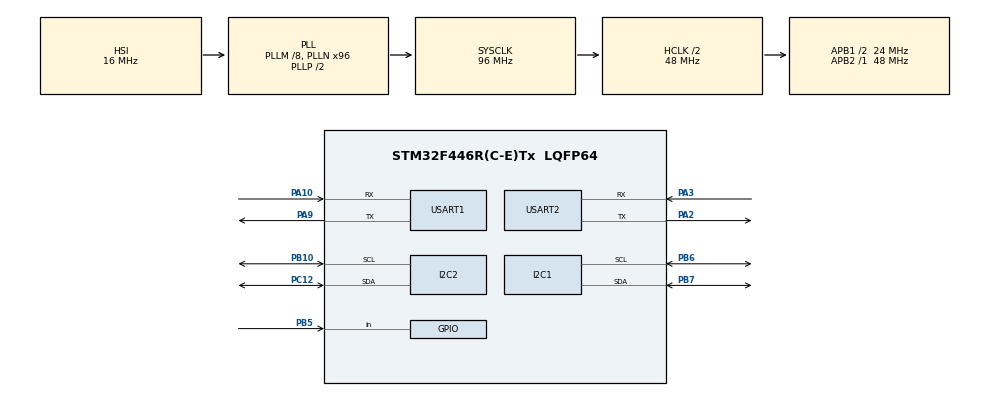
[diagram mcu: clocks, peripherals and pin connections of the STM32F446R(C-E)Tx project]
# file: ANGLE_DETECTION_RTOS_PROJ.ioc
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I2C2.I2C_Mode=I2C_Fast
Mcu.Family=STM32F4
Mcu.Name=STM32F446R(C-E)Tx
Mcu.Package=LQFP64
NVIC.PriorityGroup=NVIC_PRIORITYGROUP_4
NVIC.TIM1_UP_TIM10_IRQn=true\:15\:0\:false\:false\:true\:false\:true\:true
NVIC.TimeBase=TIM1_UP_TIM10_IRQn
NVIC.TimeBaseIP=TIM1
PA10.Mode=Asynchronous
PA10.Signal=USART1_RX
PA2.Mode=Asynchronous
PA2.Signal=USART2_TX
PA3.Mode=Asynchronous
PA3.Signal=USART2_RX
PA9.Mode=Asynchronous
PA9.Signal=USART1_TX
PB10.Mode=I2C
PB10.Signal=I2C2_SCL
PB5.Signal=GPIO_Input
PB6.Mode=I2C
PB6.Signal=I2C1_SCL
PB7.Mode=I2C
PB7.Signal=I2C1_SDA
PC12.Mode=I2C
PC12.Signal=I2C2_SDA
PC14-OSC32_IN.Mode=LSE-External-Oscillator
PC14-OSC32_IN.Signal=RCC_OSC32_IN
PC15-OSC32_OUT.Mode=LSE-External-Oscillator
PC15-OSC32_OUT.Signal=RCC_OSC32_OUT
PH0-OSC_IN.Mode=HSE-External-Oscillator
PH0-OSC_IN.Signal=RCC_OSC_IN
PH1-OSC_OUT.Mode=HSE-External-Oscillator
PH1-OSC_OUT.Signal=RCC_OSC_OUT
ProjectManager.HeapSize=0x200
ProjectManager.StackSize=0x400
ProjectManager.TargetToolchain=STM32CubeIDE
RCC.AHBCLKDivider=RCC_SYSCLK_DIV2
RCC.AHBFreq_Value=48000000
RCC.APB1CLKDivider=RCC_HCLK_DIV2
RCC.APB1Freq_Value=24000000
RCC.APB1TimFreq_Value=48000000
RCC.APB2Freq_Value=48000000
RCC.APB2TimFreq_Value=48000000
RCC.CortexFreq_Value=48000000
RCC.HCLKFreq_Value=48000000
RCC.HSE_VALUE=8000000
RCC.PLLM=8
RCC.PLLN=96
RCC.SYSCLKFreq_VALUE=96000000
RCC.SYSCLKSource=RCC_SYSCLKSOURCE_PLLCLK
RCC.USBFreq_Value=96000000
RCC.VCOOutputFreq_Value=192000000
USART1.VirtualMode=VM_ASYNC
USART2.VirtualMode=VM_ASYNC
VP_SYS_VS_tim1.Mode=TIM1
board=custom

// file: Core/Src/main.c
/* USER CODE BEGIN Header */
/**
  ******************************************************************************
  * @file           : main.c
  * @brief          : Main program body
  ******************************************************************************
  * @attention
  *
  * Copyright (c) 2025 STMicroelectronics.
  * All rights reserved.
  *
  * This software is licensed under terms that can be found in the LICENSE file
  * in the root directory of this software component.
  * If no LICENSE file comes with this software, it is provided AS-IS.
  *
  ******************************************************************************
  */
/* USER CODE END Header */
#include "main.h"

/* USER CODE BEGIN Includes */
#include <math.h>
#include <stdio.h>
#include <string.h>

#include "freeRTOS.h"
#include "task.h"
#include "semphr.h"

#include "I2Cdev.h"
#include "HMC5883L.h"

#include "MPU6050.h"
#include "CalculateAngle.h"

/* USER CODE END Includes */

I2C_HandleTypeDef hi2c1;
I2C_HandleTypeDef hi2c2;

UART_HandleTypeDef huart1;
UART_HandleTypeDef huart2;

/* USER CODE BEGIN PV */
TaskHandle_t mpu6050_handler;
TaskHandle_t hmc5883l_handler;
BaseType_t status;
xSemaphoreHandle xUartMutex;

int16_t mx, my, mz;
float pitch, roll;
char uartBuf[50];
float mx_comp, my_comp;
float yaw;

/* USER CODE END PV */

void SystemClock_Config(void);
static void MX_GPIO_Init(void);
static void MX_I2C1_Init(void);
static void MX_I2C2_Init(void);
static void MX_USART2_UART_Init(void);
static void MX_USART1_UART_Init(void);
/* USER CODE BEGIN PFP */
static void hmc5883l_task(void* parameters);
static void mpu6050_task(void* parameters);
/* USER CODE END PFP */

int main(void)
{

  /* MCU Configuration--------------------------------------------------------*/

  /* Reset of all peripherals, Initializes the Flash interface and the Systick. */
  HAL_Init();

  /* Configure the system clock */
  SystemClock_Config();

  /* Initialize all configured peripherals */
  MX_GPIO_Init();
  MX_I2C1_Init();
  MX_I2C2_Init();
  MX_USART2_UART_Init();
  MX_USART1_UART_Init();
  /* USER CODE BEGIN 2 */
  I2Cdev_init(&hi2c2);
  HMC5883L_initialize();
  MPU6050_Initialization();

  if (HMC5883L_testConnection())
  {
	  char buffer[100];
	  sprintf(buffer, "HMC5883L Connected\r\n");
	  HAL_UART_Transmit(&huart2, (uint8_t*)buffer, strlen(buffer), HAL_MAX_DELAY);
  }
  else
  {
	  char buffer[100];
	  sprintf(buffer, "HMC5883L Connection Failed\r\n");
	  HAL_UART_Transmit(&huart2, (uint8_t*)buffer, strlen(buffer), HAL_MAX_DELAY);
  }

  xUartMutex = xSemaphoreCreateMutex();

  if(xUartMutex != NULL)
  {
	status = xTaskCreate(mpu6050_task, "gyro-accel", 2048, NULL, 1, &mpu6050_handler);
	configASSERT(status == pdPASS);

	status = xTaskCreate(hmc5883l_task, "magnetometer", 2048, NULL, 1, &hmc5883l_handler);
	configASSERT(status == pdPASS);

	xSemaphoreGive(xUartMutex);

	vTaskStartScheduler();
  }
  else
  {
	  printf("binary semaphore creation failed\n\r");
  }

  /* USER CODE END 2 */

  /* Infinite loop */
  while (1)
  {

  }
}

void SystemClock_Config(void)
{
  RCC_OscInitTypeDef RCC_OscInitStruct = {0};
  RCC_ClkInitTypeDef RCC_ClkInitStruct = {0};

  /** Configure the main internal regulator output voltage
  */
  __HAL_RCC_PWR_CLK_ENABLE();
  __HAL_PWR_VOLTAGESCALING_CONFIG(PWR_REGULATOR_VOLTAGE_SCALE3);

  /** Initializes the RCC Oscillators according to the specified parameters
  * in the RCC_OscInitTypeDef structure.
  */
  RCC_OscInitStruct.OscillatorType = RCC_OSCILLATORTYPE_HSI;
  RCC_OscInitStruct.HSIState = RCC_HSI_ON;
  RCC_OscInitStruct.HSICalibrationValue = RCC_HSICALIBRATION_DEFAULT;
  RCC_OscInitStruct.PLL.PLLState = RCC_PLL_ON;
  RCC_OscInitStruct.PLL.PLLSource = RCC_PLLSOURCE_HSI;
  RCC_OscInitStruct.PLL.PLLM = 8;
  RCC_OscInitStruct.PLL.PLLN = 96;
  RCC_OscInitStruct.PLL.PLLP = RCC_PLLP_DIV2;
  RCC_OscInitStruct.PLL.PLLQ = 2;
  RCC_OscInitStruct.PLL.PLLR = 2;
  if (HAL_RCC_OscConfig(&RCC_OscInitStruct) != HAL_OK)
  {
    Error_Handler();
  }

  /** Initializes the CPU, AHB and APB buses clocks
  */
  RCC_ClkInitStruct.ClockType = RCC_CLOCKTYPE_HCLK|RCC_CLOCKTYPE_SYSCLK
                              |RCC_CLOCKTYPE_PCLK1|RCC_CLOCKTYPE_PCLK2;
  RCC_ClkInitStruct.SYSCLKSource = RCC_SYSCLKSOURCE_PLLCLK;
  RCC_ClkInitStruct.AHBCLKDivider = RCC_SYSCLK_DIV2;
  RCC_ClkInitStruct.APB1CLKDivider = RCC_HCLK_DIV2;
  RCC_ClkInitStruct.APB2CLKDivider = RCC_HCLK_DIV1;

  if (HAL_RCC_ClockConfig(&RCC_ClkInitStruct, FLASH_LATENCY_1) != HAL_OK)
  {
    Error_Handler();
  }
}

static void MX_I2C1_Init(void)
{

  hi2c1.Instance = I2C1;
  hi2c1.Init.ClockSpeed = 100000;
  hi2c1.Init.DutyCycle = I2C_DUTYCYCLE_2;
  hi2c1.Init.OwnAddress1 = 0;
  hi2c1.Init.AddressingMode = I2C_ADDRESSINGMODE_7BIT;
  hi2c1.Init.DualAddressMode = I2C_DUALADDRESS_DISABLE;
  hi2c1.Init.OwnAddress2 = 0;
  hi2c1.Init.GeneralCallMode = I2C_GENERALCALL_DISABLE;
  hi2c1.Init.NoStretchMode = I2C_NOSTRETCH_DISABLE;
  if (HAL_I2C_Init(&hi2c1) != HAL_OK)
  {
    Error_Handler();
  }

}

static void MX_I2C2_Init(void)
{

  hi2c2.Instance = I2C2;
  hi2c2.Init.ClockSpeed = 400000;
  hi2c2.Init.DutyCycle = I2C_DUTYCYCLE_2;
  hi2c2.Init.OwnAddress1 = 0;
  hi2c2.Init.AddressingMode = I2C_ADDRESSINGMODE_7BIT;
  hi2c2.Init.DualAddressMode = I2C_DUALADDRESS_DISABLE;
  hi2c2.Init.OwnAddress2 = 0;
  hi2c2.Init.GeneralCallMode = I2C_GENERALCALL_DISABLE;
  hi2c2.Init.NoStretchMode = I2C_NOSTRETCH_DISABLE;
  if (HAL_I2C_Init(&hi2c2) != HAL_OK)
  {
    Error_Handler();
  }

}

static void MX_USART1_UART_Init(void)
{

  huart1.Instance = USART1;
  huart1.Init.BaudRate = 115200;
  huart1.Init.WordLength = UART_WORDLENGTH_8B;
  huart1.Init.StopBits = UART_STOPBITS_1;
  huart1.Init.Parity = UART_PARITY_NONE;
  huart1.Init.Mode = UART_MODE_TX_RX;
  huart1.Init.HwFlowCtl = UART_HWCONTROL_NONE;
  huart1.Init.OverSampling = UART_OVERSAMPLING_16;
  if (HAL_UART_Init(&huart1) != HAL_OK)
  {
    Error_Handler();
  }

}

static void MX_USART2_UART_Init(void)
{

  huart2.Instance = USART2;
  huart2.Init.BaudRate = 115200;
  huart2.Init.WordLength = UART_WORDLENGTH_8B;
  huart2.Init.StopBits = UART_STOPBITS_1;
  huart2.Init.Parity = UART_PARITY_NONE;
  huart2.Init.Mode = UART_MODE_TX_RX;
  huart2.Init.HwFlowCtl = UART_HWCONTROL_NONE;
  huart2.Init.OverSampling = UART_OVERSAMPLING_16;
  if (HAL_UART_Init(&huart2) != HAL_OK)
  {
    Error_Handler();
  }

}

static void MX_GPIO_Init(void)
{
  GPIO_InitTypeDef GPIO_InitStruct = {0};

  /* GPIO Ports Clock Enable */
  __HAL_RCC_GPIOC_CLK_ENABLE();
  __HAL_RCC_GPIOH_CLK_ENABLE();
  __HAL_RCC_GPIOA_CLK_ENABLE();
  __HAL_RCC_GPIOB_CLK_ENABLE();

  /*Configure GPIO pin : PB5 */
  GPIO_InitStruct.Pin = GPIO_PIN_5;
  GPIO_InitStruct.Mode = GPIO_MODE_INPUT;
  GPIO_InitStruct.Pull = GPIO_NOPULL;
  HAL_GPIO_Init(GPIOB, &GPIO_InitStruct);

}

/* USER CODE BEGIN 4 */
static void mpu6050_task(void* parameters)
{
	char buffer[200];
	while(1)
	{
		MPU6050_ProcessData(&MPU6050);
		CalculateAccAngle(&Angle, &MPU6050);
		CalculateGyroAngle(&Angle, &MPU6050);
		CalculateCompliFilter(&Angle, &MPU6050);
		xSemaphoreTake( xUartMutex, portMAX_DELAY);
		sprintf(buffer, "Pitch: %0.2f\t Roll: %0.2f\t Yaw: %0.2f\r\n", Angle.ComFilt_roll,Angle.ComFilt_pitch,Angle.ComFilt_yaw);
		HAL_UART_Transmit(&huart1, (uint8_t *)buffer, strlen(buffer), HAL_MAX_DELAY);
		printf("%s", buffer);
		xSemaphoreGive(xUartMutex);
		vTaskDelay(10);
	}
}

static void hmc5883l_task(void* parameters)
{
	char buffer[100];
	while(1)
	{
		HMC5883L_getHeading(&mx, &my, &mz);
		float fx = (float)mx;
		float fy = (float)my;
		float fz = (float)mz;
		float pitchRad = pitch * M_PI / 180.0;
		float rollRad  = roll  * M_PI / 180.0;

		mx_comp = fx * cos(pitchRad) + fz * sin(pitchRad);
		my_comp = fx * sin(rollRad) * sin(pitchRad) + fy * cos(rollRad) - fz * sin(rollRad) * cos(pitchRad);

		yaw = atan2(my_comp, mx_comp) * 180.0 / M_PI;

		if (yaw < 0)
			yaw += 360;
		xSemaphoreTake( xUartMutex, portMAX_DELAY);
		sprintf(buffer, "HMC5883L Yaw: %.2f°\r\n", yaw);
		HAL_UART_Transmit(&huart1, (uint8_t *)buffer, strlen(buffer), HAL_MAX_DELAY);
		printf("%s\n", buffer);
		xSemaphoreGive(xUartMutex);
		vTaskDelay(10);
	}
}

#define PRINTF   int __io_putchar(int ch)
PRINTF
{
	HAL_UART_Transmit(&huart2, (uint8_t*)&ch, 1, HAL_MAX_DELAY);
	return ch;
}
/* USER CODE END 4 */

void HAL_TIM_PeriodElapsedCallback(TIM_HandleTypeDef *htim)
{
  if (htim->Instance == TIM1) {
    HAL_IncTick();
  }
}

void Error_Handler(void)
{
  __disable_irq();
  while (1)
  {
  }
}
